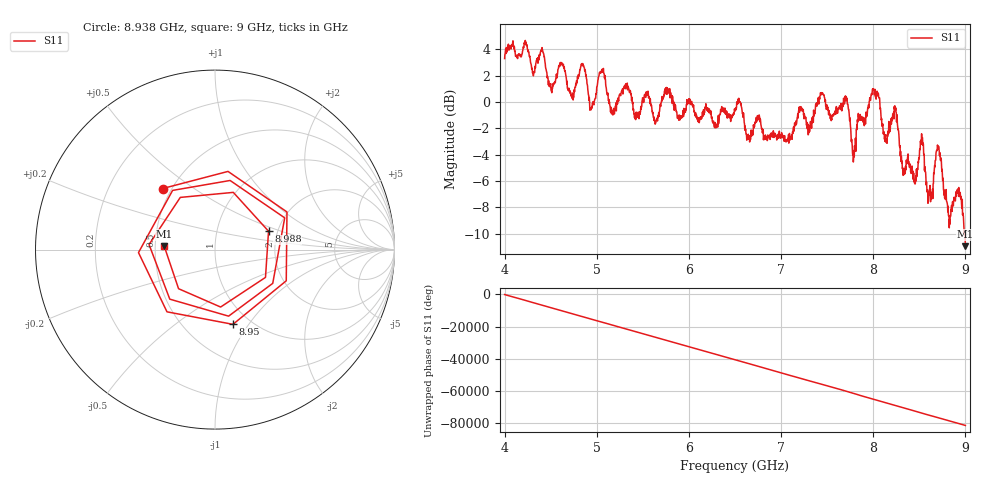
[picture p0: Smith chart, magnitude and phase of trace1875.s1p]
! Created with skrf 1.8.0 (http://scikit-rf.org).
# Hz S RI R 50.0
!freq ReS11 ImS11
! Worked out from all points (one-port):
!   1601 points, 4 GHz to 9 GHz, reference 50 ohm
!   lowest |S11| = -11.0 dB at 9 GHz (marker M1), VSWR 1.79, Z = 27.9 + j1.12 ohm
!   |S11| at or under -10 dB: 8.987828 GHz to 8.988428 GHz (600.7 kHz wide, 0.00668 % of centre); 8.99465 GHz to end of sweep
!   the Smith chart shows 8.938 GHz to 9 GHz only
!   S11 on the Smith chart (normalised r, x): 8.938 GHz: 0.45, +0.38; 8.95 GHz: 0.83, -0.85; 8.988 GHz: 1.79, +0.41; 9 GHz: 0.56, +0.02
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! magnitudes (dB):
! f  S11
! 4 GHz  3.3
! 4.406 GHz  4.1
! 4.506 GHz  0.8
! 4.625 GHz  2.9
! 4.728 GHz  0.5
! 4.853 GHz  2.7
! 4.947 GHz  -0.3
! 5.053 GHz  2.4
! 5.169 GHz  -0.7
! 5.25 GHz  0.6
! 5.875 GHz  -1.2
! 6.5 GHz  -0.6
! 7.125 GHz  -2.3
! 7.447 GHz  0.7
! 7.75 GHz  -1.6
! 7.788 GHz  -4.2
! 8.016 GHz  0.8
! 8.238 GHz  -0.6
! 8.375 GHz  -4.1
! 8.459 GHz  -6.0
! 8.528 GHz  -3.2
! 8.616 GHz  -6.3
! 8.706 GHz  -3.6
! 8.822 GHz  -8.6
! 8.938 GHz  -7.0
! 8.95 GHz  -7.4
! 8.988 GHz  -10.0
! 9 GHz  -11.0
